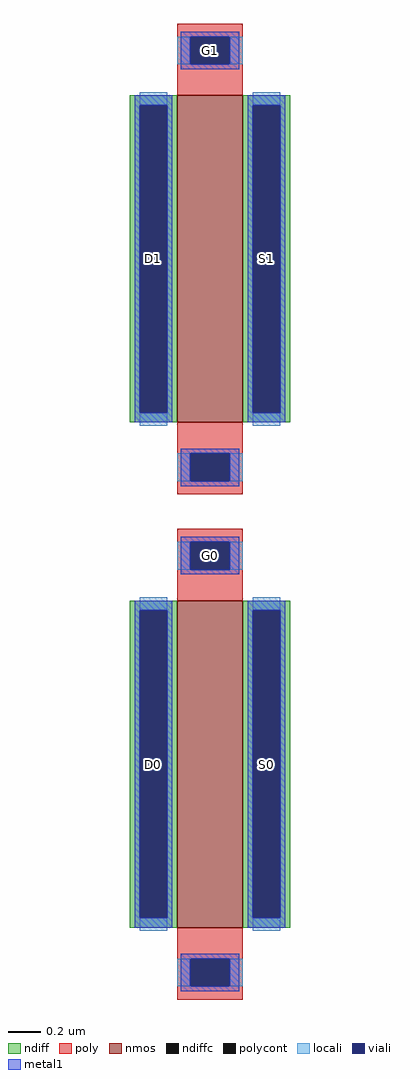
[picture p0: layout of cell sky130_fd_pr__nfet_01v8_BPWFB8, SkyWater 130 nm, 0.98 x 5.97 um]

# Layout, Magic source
magic
tech sky130A
magscale 1 2
<< nmos >>
rect -40 109 40 509
rect -40 -509 40 -109
<< ndiff >>
rect -98 497 -40 509
rect -98 121 -86 497
rect -52 121 -40 497
rect -98 109 -40 121
rect 40 497 98 509
rect 40 121 52 497
rect 86 121 98 497
rect 40 109 98 121
rect -98 -121 -40 -109
rect -98 -497 -86 -121
rect -52 -497 -40 -121
rect -98 -509 -40 -497
rect 40 -121 98 -109
rect 40 -497 52 -121
rect 86 -497 98 -121
rect 40 -509 98 -497
<< ndiffc >>
rect -86 121 -52 497
rect 52 121 86 497
rect -86 -497 -52 -121
rect 52 -497 86 -121
<< poly >>
rect -40 581 40 597
rect -40 547 -24 581
rect 24 547 40 581
rect -40 509 40 547
rect -40 71 40 109
rect -40 37 -24 71
rect 24 37 40 71
rect -40 21 40 37
rect -40 -37 40 -21
rect -40 -71 -24 -37
rect 24 -71 40 -37
rect -40 -109 40 -71
rect -40 -547 40 -509
rect -40 -581 -24 -547
rect 24 -581 40 -547
rect -40 -597 40 -581
<< polycont >>
rect -24 547 24 581
rect -24 37 24 71
rect -24 -71 24 -37
rect -24 -581 24 -547
<< locali >>
rect -40 547 -24 581
rect 24 547 40 581
rect -86 497 -52 513
rect -86 105 -52 121
rect 52 497 86 513
rect 52 105 86 121
rect -40 37 -24 71
rect 24 37 40 71
rect -40 -71 -24 -37
rect 24 -71 40 -37
rect -86 -121 -52 -105
rect -86 -513 -52 -497
rect 52 -121 86 -105
rect 52 -513 86 -497
rect -40 -581 -24 -547
rect 24 -581 40 -547
<< viali >>
rect -24 547 24 581
rect -86 121 -52 497
rect 52 121 86 497
rect -24 37 24 71
rect -24 -71 24 -37
rect -86 -497 -52 -121
rect 52 -497 86 -121
rect -24 -581 24 -547
<< metal1 >>
rect -36 581 36 587
rect -36 547 -24 581
rect 24 547 36 581
rect -36 541 36 547
rect -92 497 -46 509
rect -92 121 -86 497
rect -52 121 -46 497
rect -92 109 -46 121
rect 46 497 92 509
rect 46 121 52 497
rect 86 121 92 497
rect 46 109 92 121
rect -36 71 36 77
rect -36 37 -24 71
rect 24 37 36 71
rect -36 31 36 37
rect -36 -37 36 -31
rect -36 -71 -24 -37
rect 24 -71 36 -37
rect -36 -77 36 -71
rect -92 -121 -46 -109
rect -92 -497 -86 -121
rect -52 -497 -46 -121
rect -92 -509 -46 -497
rect 46 -121 92 -109
rect 46 -497 52 -121
rect 86 -497 92 -121
rect 46 -509 92 -497
rect -36 -547 36 -541
rect -36 -581 -24 -547
rect 24 -581 36 -547
rect -36 -587 36 -581
<< labels >>
rlabel ndiffc -69 -309 -69 -309 0 D0
port 1 nsew
rlabel ndiffc 69 -309 69 -309 0 S0
port 2 nsew
rlabel polycont 0 -54 0 -54 0 G0
port 3 nsew
rlabel ndiffc -69 309 -69 309 0 D1
port 4 nsew
rlabel ndiffc 69 309 69 309 0 S1
port 5 nsew
rlabel polycont 0 564 0 564 0 G1
port 6 nsew
<< properties >>
string gencell sky130_fd_pr__nfet_01v8
string library sky130
string parameters w 2.0 l 0.4 m 2 nf 1 diffcov 100 polycov 100 guard 0 glc 0 grc 0 gtc 0 gbc 0 tbcov 100 rlcov 100 topc 1 botc 1 poverlap 0 doverlap 1 lmin 0.15 wmin 0.42 class mosfet compatible {sky130_fd_pr__nfet_01v8 sky130_fd_pr__nfet_01v8_lvt  sky130_fd_bs_flash__special_sonosfet_star  sky130_fd_pr__nfet_g5v0d10v5 sky130_fd_pr__nfet_05v0_nvt  sky130_fd_pr__nfet_03v3_nvt} full_metal 0 conn_gates 0 viasrc 100 viadrn 100 viagate 100 viagb 0 viagr 0 viagl 0 viagt 0 doports 1
<< end >>
